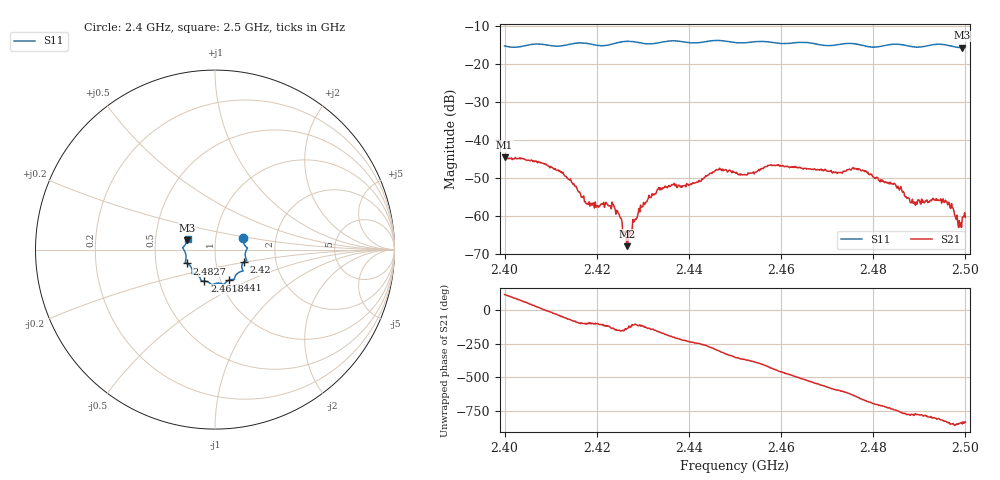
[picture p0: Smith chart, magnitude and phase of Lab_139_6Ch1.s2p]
# Hz S RI R 50
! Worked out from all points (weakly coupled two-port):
!   601 points, 2.4 GHz to 2.5 GHz, reference 50 ohm
!   highest |S21| = -44.59 dB at 2.4 GHz (marker M1); lowest = -67.9 dB at 2.4267 GHz (marker M2)
!   lowest |S11| = -15.8 dB at 2.4993 GHz (marker M3), VSWR 1.39, Z = 36.5 + j3.82 ohm
!   |S11| at or under -10 dB: start of sweep to end of sweep
!   S12 and S22 are empty: the file has one direction only
!   S11 on the Smith chart (normalised r, x): 2.4 GHz: 1.36, +0.18; 2.42 GHz: 1.36, -0.20; 2.441 GHz: 1.10, -0.39; 2.4618 GHz: 0.84, -0.30; 2.4827 GHz: 0.72, -0.11; 2.5 GHz: 0.73, +0.09
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2.4e9  0.1583 0.0629  -0.00286 0.00516  0 0  0 0
2.412167e9  0.1679 -0.0302  0.00264 -0.00268  0 0  0 0
2.416667e9  0.1771 -0.061  -7.68e-05 -0.00176  0 0  0 0
2.42e9  0.1596 -0.0701  -0.000189 -0.00134  0 0  0 0
2.423833e9  0.151 -0.1052  -0.00101 -0.000804  0 0  0 0
2.426667e9  0.1565 -0.1189  -0.000277 -0.000293  0 0  0 0
2.429667e9  0.1398 -0.1233  -0.000484 -0.00122  0 0  0 0
2.433333e9  0.1112 -0.1508  -0.00213 -0.000771  0 0  0 0
2.441e9  0.0788 -0.1698  -0.00136 0.00231  0 0  0 0
2.446167e9  0.0496 -0.1955  0.00195 0.00352  0 0  0 0
2.45e9  0.0284 -0.1874  0.00369 0.000544  0 0  0 0
2.461833e9  -0.0592 -0.1753  -0.00217 -0.00373  0 0  0 0
2.466667e9  -0.079 -0.1683  -0.00408 -0.000259  0 0  0 0
2.476167e9  -0.1275 -0.1296  0.000875 0.00409  0 0  0 0
2.482667e9  -0.1559 -0.0771  0.00282 -0.000149  0 0  0 0
2.483333e9  -0.1603 -0.0751  0.00265 -0.000455  0 0  0 0
2.488667e9  -0.1614 -0.0413  0.000748 -0.00126  0 0  0 0
2.4955e9  -0.1771 0.0147  -0.000528 -0.00142  0 0  0 0
2.496833e9  -0.1694 0.0226  -0.000782 -0.000989  0 0  0 0
2.498667e9  -0.1573 0.0419  -0.000505 -0.000706  0 0  0 0
2.499333e9  -0.1539 0.0509  -0.000603 -0.000737  0 0  0 0
2.5e9  -0.1522 0.0606  -0.000414 -0.000867  0 0  0 0
